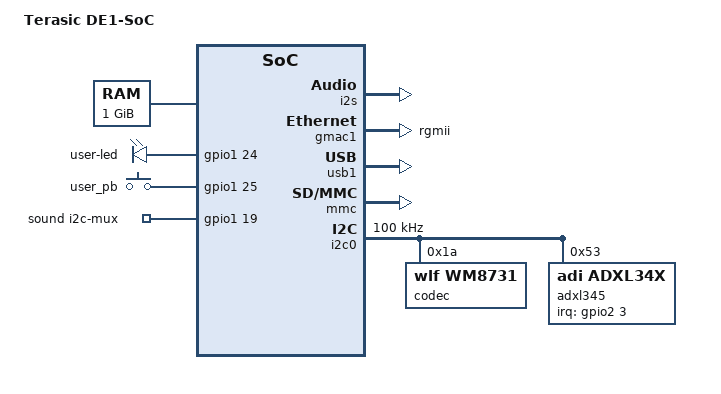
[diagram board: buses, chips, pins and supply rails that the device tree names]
/*
 *  Copyright (C) 2013 Steffen Trumtrar <s.trumtrar@pengutronix.de>
 *
 * This program is free software; you can redistribute it and/or modify
 * it under the terms of the GNU General Public License as published by
 * the Free Software Foundation; either version 2 of the License, or
 * (at your option) any later version.
 *
 * This program is distributed in the hope that it will be useful,
 * but WITHOUT ANY WARRANTY; without even the implied warranty of
 * MERCHANTABILITY or FITNESS FOR A PARTICULAR PURPOSE.  See the
 * GNU General Public License for more details.
 *
 * You should have received a copy of the GNU General Public License
 * along with this program.  If not, see <http://www.gnu.org/licenses/>.
 */

#include "socfpga_cyclone5.dtsi"
#include <dt-bindings/interrupt-controller/irq.h>

/ {
	model = "Terasic DE1-SoC";
	compatible = "altr,socfpga-cyclone5", "altr,socfpga";

	chosen {
		bootargs = "console=ttyS0,115200";
	};

	memory {
		name = "memory";
		device_type = "memory";
		reg = <0x0 0x40000000>; /* 1GB */
	};

	aliases {
		/* this allow the ethaddr uboot environmnet variable contents
		 * to be added to the gmac1 device tree blob.
		 */
		ethernet0 = &gmac1;
	};

	leds {
		compatible = "gpio-leds";
		user {
			label = "user-led";
			gpios = <&gpio1 24 0>;
			linux,default-trigger = "heartbeat";
		};
#if 0
		/* Always-on to enable HPS i2c */
		/* The alternative is to model it as a regulator for codec */
		i2c0mux {
			label = "i2c0-mux";
			gpios = <&gpio1 19 0>;
			linux,default-trigger = "default-on";
		};
#endif
	};

        gpio_keys {
		compatible = "gpio-keys";
		#address-cells = <1>;
		#size-cells = <0>;

		user_pb {
			label = "user_pb";
			gpios = <&gpio1 25 0>;
			linux,code = <28>;
			gpio-key,wakeup;
                };
        };

	soc {
		gpio@ff708000 {
			status = "okay";
		};

		gpio@ff709000 {
			status = "okay";
		};

		gpio@ff70a000 {
			status = "okay";
		};
	};

        sound {
	        compatible = "opencores,de1soc-wm8731-audio";
		i2s-controller = <&i2s>;
		audio-codec = <&codec>;
		i2c-mux-gpio = <&gpio1 19 0>;
        };

	clk48: clk48 {
		compatible = "fixed-clock";
		#clock-cells = <0>;
		clock-frequency  = <24576000>;
		clock-output-names = "clk48";
	};

	clk44: clk44 {
		compatible = "fixed-clock";
		#clock-cells = <0>;
		clock-frequency  = <33868800>;
		clock-output-names = "clk44";
	};

	i2s: i2s@0 {
		#sound-dai-cells = <1>;
		compatible = "opencores,i2s";
		reg = <0xff200000 0x20>, <0xff200020 0x20>;
		clocks = <&clk44>, <&clk48>;
		clock-names = "clk44", "clk48";
		dmas = <&pdma 0>, <&pdma 1>;
		dma-names = "tx", "rx";
	};
#if 0
	seg7@20 {
		compatible = "dummy";
		reg = <0xff200020 0x20>;
	};
	vip2@100 {
		compatible = "altr,vip-frame-reader-13.0", "altr,vip-frame-reader-9.1";
		reg = <0xff200100 0x180>;
		max-width = <0x400>;
		max-height = <0x300>;
		mem-word-width = <0x80>;
		bits-per-color = <0x8>;
	};
#endif
	sysid@2000 {
		compatible = "altr,sysid-1.0";
		reg = <0xff202000 0x8>;
	};
#if 0
	led_pio@10040 {
		compatible = "altr,pio-1.0";
		reg = <0xff210040 0x10>;
		altr,gpio-bank-width = <10>;
		#gpio-cells = <1>;
		gpio-controller;
	};
	dipsw_pio@10080 {
		compatible = "altr,pio-1.0";
		reg = <0xff210080 0x10>;
		interrupts = <0 42 4>;
		altr,gpio-bank-width = <10>;
		altr,interrupt_type = <IRQ_TYPE_EDGE_BOTH>;
		#gpio-cells = <1>;
		gpio-controller;
		#interrupt-cells = <1>;
		interrupt-controller;
	};
	button_pio@100c0 {
		compatible = "altr,pio-1.0";
		reg = <0xff2100c0 0x10>;
		interrupts = <0 41 4>;
		altr,gpio-bank-width = <4>;
		altr,interrupt_type = <IRQ_TYPE_EDGE_FALLING>;
		#gpio-cells = <1>;
		gpio-controller;
		#interrupt-cells = <1>;
		interrupt-controller;
	};
	jtag_uart@20000 {
		compatible = "altr,juart-1.0";
		reg = <0xff220000 0x8>;
		interrupts = <0 40 4>;
	};
	/*
	fpgadma: fifo {
		#address-cells = <1>;
		#size-cells = <1>;
		compatible = "altr,fpga-dma";
		reg = <0xff200060 0x20>, <0xc0001000 0x10>;
		reg-names = "csr", "data";
		dmas = <&pdma 2 &pdma 3>;
		dma-names = "tx", "rx";
	};
	*/
#endif
};

&osc1 {
	clock-frequency = <25000000>;
};

&gmac1 {
	status = "okay";
	phy-mode = "rgmii";

	rxd0-skew-ps = <0>;
	rxd1-skew-ps = <0>;
	rxd2-skew-ps = <0>;
	rxd3-skew-ps = <0>;
	txen-skew-ps = <0>;
	txc-skew-ps = <2600>;
	rxdv-skew-ps = <0>;
	rxc-skew-ps = <2000>;
};

&usb1 {
	status = "okay";
};

&mmc {
	status = "okay";
	num-slots = <0x1>;
	supports-highspeed;
	broken-cd;
	altr,dw-mshc-ciu-div = <0x3>;
	altr,dw-mshc-sdr-timing = <0x0 0x3>;

	slot@0 {
		reg = <0x0>;
		bus-width = <0x4>;
	};
};

&i2c0 {
	status = "okay";
	clock-frequency = <100000>;
	speed-mode = <0>;

	codec: wm8731@34 {
		#sound-dai-cells = <0>;
		compatible = "wlf,wm8731";
		reg = <0x1a>;
	};
	adxl345@53 {
		compatible = "adi,adxl34x";
		reg = <0x53>;
		interrupt-parent = <&gpio2>;
		interrupts = <3 4>;
	};
};
